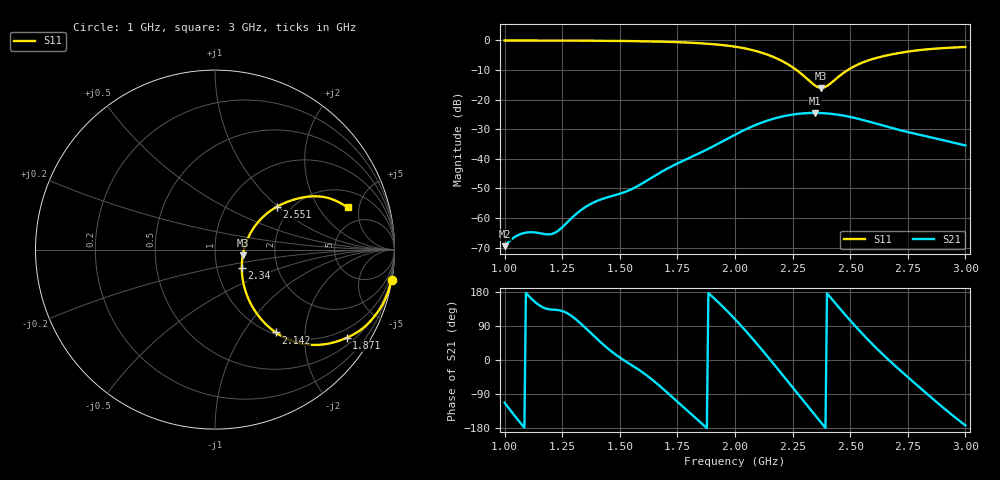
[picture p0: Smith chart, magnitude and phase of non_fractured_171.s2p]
! TOUCHSTONE file generated by CST MICROWAVE STUDIO
! Date and time: Sat Mar  8 13:55:11 2025
! Project name: non_fractured.cst
! Parameters = {B=2.5; D=160; F=5; Feed=2.85625; L=100; M=20; R=0.384908; S=2; Theta=180; length=57.125; wave=114.25}
! Header version: 2024
! Port assignment regex: !\s*Touchstone port\s*([0-9]+)\s*=\s*(CST MWS port|CST DES external port|CST DES block port)\s*(.+)\s* \(\"(.*)\"\)(\s*mode\s*([0-9]+))?.*
! Touchstone port assignment:
! Touchstone port 1 = CST MWS port 1 ("")
! Touchstone port 2 = CST MWS port 2 ("")
# GHz S DB R 50
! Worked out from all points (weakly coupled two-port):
!   304 points, 1 GHz to 3 GHz, reference 50 ohm
!   highest |S21| = -24.50 dB at 2.347 GHz (marker M1); lowest = -69.5 dB at 1 GHz (marker M2)
!   lowest |S11| = -16.0 dB at 2.373 GHz (marker M3), VSWR 1.37, Z = 68.1 - j4.45 ohm
!   |S11| at or under -10 dB: 2.267 GHz to 2.49 GHz (222.8 MHz wide, 9.37 % of centre)
!   S12 and S22 are empty: the file has one direction only
!   S11 on the Smith chart (normalised r, x): 1 GHz: 0, -12; 1.871 GHz: 0.71, -3.14; 2.142 GHz: 1.03, -1.42; 2.34 GHz: 1.32, -0.28; 2.551 GHz: 1.69, +0.98; 3 GHz: 3.23, +3.80
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1  -0.02 -9.8  -69.53 -112.6  -200.00 0.0  -200.00 0.0
1.0396  -0.02 -10.3  -66.64 -144.1  -200.00 0.0  -200.00 0.0
1.07921  -0.03 -10.8  -65.19 -173.8  -200.00 0.0  -200.00 0.0
1.19142  -0.05 -12.5  -65.55 134.0  -200.00 0.0  -200.00 0.0
1.21782  -0.05 -13.0  -65.03 132.6  -200.00 0.0  -200.00 0.0
1.33663  -0.09 -15.2  -57.06 92.7  -200.00 0.0  -200.00 0.0
1.40264  -0.12 -16.6  -54.20 54.8  -200.00 0.0  -200.00 0.0
1.54785  -0.23 -20.4  -50.40 -12.2  -200.00 0.0  -200.00 0.0
1.66667  -0.39 -24.2  -45.05 -65.1  -200.00 0.0  -200.00 0.0
1.87129  -1.08 -33.9  -37.14 -176.1  -200.00 0.0  -200.00 0.0
2.0033  -2.15 -42.8  -31.72 105.7  -200.00 0.0  -200.00 0.0
2.14191  -4.84 -53.7  -27.08 8.8  -200.00 0.0  -200.00 0.0
2.24092  -8.61 -56.7  -25.17 -65.3  -200.00 0.0  -200.00 0.0
2.33993  -14.81 -34.9  -24.50 -140.0  -200.00 0.0  -200.00 0.0
2.34653  -15.19 -31.0  -24.50 -144.9  -200.00 0.0  -200.00 0.0
2.37294  -16.03 -11.6  -24.55 -164.6  -200.00 0.0  -200.00 0.0
2.39934  -15.40 8.0  -24.67 175.9  -200.00 0.0  -200.00 0.0
2.46535  -11.31 31.7  -25.33 128.4  -200.00 0.0  -200.00 0.0
2.55116  -7.55 34.7  -26.81 70.2  -200.00 0.0  -200.00 0.0
2.66997  -4.88 30.7  -29.39 -1.5  -200.00 0.0  -200.00 0.0
2.83498  -3.01 23.5  -32.46 -90.2  -200.00 0.0  -200.00 0.0
3  -2.21 17.7  -35.50 -172.7  -200.00 0.0  -200.00 0.0
